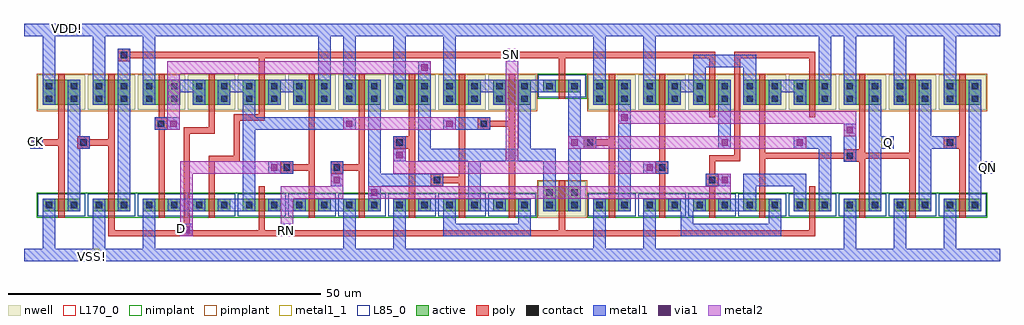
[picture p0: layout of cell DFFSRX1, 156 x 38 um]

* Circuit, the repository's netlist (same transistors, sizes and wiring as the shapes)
* +++++++++++++++++++++++++++++++++++++++++++++++++++++++++ *
* CDL Netlist:                                              *
*                                                           *
* Cell Name  : DFFSRX1                                      *
* Netlisted  : Wed Jan 12 13:57:21 2022                     *
* PVS Version: 16.15-s010 Fri Jun 28 22:24:07 PDT 2019      *
* +++++++++++++++++++++++++++++++++++++++++++++++++++++++++ *
*.LDD
*.DEVTMPLT 0 MN(nmos3) _nmos1v _soi_nd(D) poly_conn(G) _soi_nsb(S) _soi_nsb(B)
*.DEVTMPLT 1 MP(pmos3) _pmos1v _soi_pd(D) poly_conn(G) _soi_psb(S) _soi_psb(B)

* +++++++++++++++++++++++++++++++++++++++++++++++++++++++++ *
* Sub cell: nmos3_CDNS_3                                    *
* +++++++++++++++++++++++++++++++++++++++++++++++++++++++++ *
.subckt nmos3_CDNS_3 2 3 4
** N=4 EP=3 FDC=1
M0 2 3 4 4 nmos3 L=1e-06 W=2e-06 AD=5e-12 AS=0 PD=9e-06 PS=0 fw=2e-06 sa=2e-06 sb=2e-06 $X=7000 $Y=2000 $dt=0
.ends nmos3_CDNS_3

* +++++++++++++++++++++++++++++++++++++++++++++++++++++++++ *
* Sub cell: pmos3_CDNS_4                                    *
* +++++++++++++++++++++++++++++++++++++++++++++++++++++++++ *
.subckt pmos3_CDNS_4 2 3 4
** N=5 EP=3 FDC=1
M0 2 3 4 4 pmos3 L=1e-06 W=4e-06 AD=1e-11 AS=0 PD=1.3e-05 PS=0 fw=4e-06 sa=2e-06 sb=2e-06 $X=7000 $Y=2000 $dt=1
.ends pmos3_CDNS_4

* +++++++++++++++++++++++++++++++++++++++++++++++++++++++++ *
* Sub cell: DFFSRX1                                         *
* +++++++++++++++++++++++++++++++++++++++++++++++++++++++++ *
.subckt DFFSRX1 CK D Q QN RN SN VDD! VSS!
** N=28 EP=8 FDC=38
X32 2 CK VSS! nmos3_CDNS_3 $T=20000 12000 1 180 $X=4000 $Y=12000
X33 3 2 VSS! nmos3_CDNS_3 $T=36000 12000 1 180 $X=20000 $Y=12000
X34 15 4 VSS! nmos3_CDNS_3 $T=52000 12000 1 180 $X=36000 $Y=12000
X35 9 3 15 nmos3_CDNS_3 $T=68000 12000 1 180 $X=52000 $Y=12000
X36 9 2 16 nmos3_CDNS_3 $T=68000 12000 0 0 $X=68000 $Y=12000
X37 16 D VSS! nmos3_CDNS_3 $T=84000 12000 0 0 $X=84000 $Y=12000
X38 8 RN VSS! nmos3_CDNS_3 $T=116000 12000 1 180 $X=100000 $Y=12000
X39 17 SN VSS! nmos3_CDNS_3 $T=132000 12000 1 180 $X=116000 $Y=12000
X40 4 8 17 nmos3_CDNS_3 $T=148000 12000 1 180 $X=132000 $Y=12000
X41 4 9 17 nmos3_CDNS_3 $T=148000 12000 0 0 $X=148000 $Y=12000
X42 10 3 4 nmos3_CDNS_3 $T=180000 50000 1 180 $X=164000 $Y=50000
X43 11 10 VSS! nmos3_CDNS_3 $T=196000 12000 1 180 $X=180000 $Y=12000
X44 18 SN VSS! nmos3_CDNS_3 $T=212000 12000 1 180 $X=196000 $Y=12000
X45 19 8 18 nmos3_CDNS_3 $T=228000 12000 1 180 $X=212000 $Y=12000
X46 19 11 18 nmos3_CDNS_3 $T=228000 12000 0 0 $X=228000 $Y=12000
X47 10 2 19 nmos3_CDNS_3 $T=260000 12000 1 180 $X=244000 $Y=12000
X48 Q 11 VSS! nmos3_CDNS_3 $T=276000 12000 1 180 $X=260000 $Y=12000
X49 12 11 VSS! nmos3_CDNS_3 $T=292000 12000 1 180 $X=276000 $Y=12000
X50 QN 12 VSS! nmos3_CDNS_3 $T=308000 12000 1 180 $X=292000 $Y=12000
X51 2 CK VDD! pmos3_CDNS_4 $T=20000 58000 0 180 $X=4000 $Y=44000
X52 3 2 VDD! pmos3_CDNS_4 $T=36000 58000 0 180 $X=20000 $Y=44000
X53 23 4 VDD! pmos3_CDNS_4 $T=52000 58000 0 180 $X=36000 $Y=44000
X54 9 2 23 pmos3_CDNS_4 $T=68000 58000 0 180 $X=52000 $Y=44000
X55 9 3 24 pmos3_CDNS_4 $T=68000 58000 1 0 $X=68000 $Y=44000
X56 24 D VDD! pmos3_CDNS_4 $T=84000 58000 1 0 $X=84000 $Y=44000
X57 8 RN VDD! pmos3_CDNS_4 $T=116000 58000 0 180 $X=100000 $Y=44000
X58 4 SN VDD! pmos3_CDNS_4 $T=132000 58000 0 180 $X=116000 $Y=44000
X59 25 8 VDD! pmos3_CDNS_4 $T=148000 58000 0 180 $X=132000 $Y=44000
X60 4 9 25 pmos3_CDNS_4 $T=164000 58000 0 180 $X=148000 $Y=44000
X61 10 2 4 pmos3_CDNS_4 $T=180000 24000 0 180 $X=164000 $Y=10000
X62 11 10 VDD! pmos3_CDNS_4 $T=196000 58000 0 180 $X=180000 $Y=44000
X63 26 SN VDD! pmos3_CDNS_4 $T=212000 58000 0 180 $X=196000 $Y=44000
X64 10 3 26 pmos3_CDNS_4 $T=228000 58000 0 180 $X=212000 $Y=44000
X65 26 11 27 pmos3_CDNS_4 $T=228000 58000 1 0 $X=228000 $Y=44000
X66 27 8 VDD! pmos3_CDNS_4 $T=244000 58000 1 0 $X=244000 $Y=44000
X67 Q 11 VDD! pmos3_CDNS_4 $T=276000 58000 0 180 $X=260000 $Y=44000
X68 12 11 VDD! pmos3_CDNS_4 $T=292000 58000 0 180 $X=276000 $Y=44000
X69 QN 12 VDD! pmos3_CDNS_4 $T=308000 58000 0 180 $X=292000 $Y=44000
.ends DFFSRX1

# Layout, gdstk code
from math import pi, radians
import gdstk
lib = gdstk.Library(unit=1e-6, precision=5e-10)
def R(c, l, rs):  # rectangles x0, y0, x1, y1
    for r in rs: c.add(gdstk.rectangle(r[:2], r[2:], *l))
active = (1, 0)
nwell = (2, 0)
poly = (3, 0)
nimplant = (4, 0)
pimplant = (5, 0)
contact = (6, 0)
metal1 = (7, 0)
metal1_1 = (7, 1)
via1 = (8, 0)
metal2 = (9, 0)
L85_0 = (85, 0)
L170_0 = (170, 0)

nmos3_cdns_3 = lib.new_cell('nmos3_CDNS_3')
R(nmos3_cdns_3, active, [(1,1,7,3)])
R(nmos3_cdns_3, poly, [(3.5,0,4.5,5), (3.6,3.5,4.4,3.9)])
R(nmos3_cdns_3, nimplant, [(0,0,8,4)])
R(nmos3_cdns_3, contact, [(1.5,1.5,2.5,2.5), (5.5,1.5,6.5,2.5), (5.5,1.5,6.5,2.5)])
R(nmos3_cdns_3, metal1, [(1,1,3,3), (5,1,7,3), (1.3,1.3,2.7,2.7), (5.3,1.3,6.7,2.7)])
R(nmos3_cdns_3, L85_0, [(0.2,0.2,7.8,3.8)])
R(nmos3_cdns_3, L170_0, [(4.5,1,7,3)])

pmos3_cdns_4 = lib.new_cell('pmos3_CDNS_4')
R(pmos3_cdns_4, active, [(1,1,7,5)])
R(pmos3_cdns_4, nwell, [(0.2,0.2,7.8,5.8)])
R(pmos3_cdns_4, poly, [(3.5,0,4.5,7), (3.6,5.6,4.4,5.9)])
R(pmos3_cdns_4, pimplant, [(0,0,8,6)])
R(pmos3_cdns_4, contact, [(1.5,1.5,2.5,2.5), (5.5,1.5,6.5,2.5), (5.5,1.5,6.5,2.5), (1.5,3.5,2.5,4.5), (5.5,3.5,6.5,4.5)])
R(pmos3_cdns_4, metal1, [(1,1,3,5), (5,1,7,5), (1.3,1.3,2.7,2.7), (5.3,1.3,6.7,2.7)])
R(pmos3_cdns_4, L170_0, [(4.5,1,7,5)])

m1_po_cdns_1 = lib.new_cell('M1_PO_CDNS_1')
R(m1_po_cdns_1, poly, [(-1,-1,1,1)])
R(m1_po_cdns_1, contact, [(-0.5,-0.5,0.5,0.5)])
R(m1_po_cdns_1, metal1, [(-1,-1,1,1)])

m2_m1_cdns_2 = lib.new_cell('M2_M1_CDNS_2')
R(m2_m1_cdns_2, metal1, [(-1,-1,1,1)])
R(m2_m1_cdns_2, via1, [(-0.5,-0.5,0.5,0.5)])
R(m2_m1_cdns_2, metal2, [(-1,-1,1,1)])

dffsrx1 = lib.new_cell('DFFSRX1')
R(dffsrx1, poly, [(132.2,14.9,133.8,16.9), (61,17,61.9,19), (148.7,17,150,19)])
R(dffsrx1, metal1, [(25,3,27,5), (41,3,43,5), (103.1,7.1,108.8,9), (151,13,155,15), (1,17,3,19), (77,31,79,33), (77,31,79,33)])
R(dffsrx1, metal1_1, [(10,-1,12,1), (25,3,27,5), (41,3,43,5), (153,13,155,15), (1,17,3,19), (137,17,139,19), (77,31,79,33), (6,35,8,37)])
dffsrx1.add(gdstk.FlexPath([(34,22),(38.5,22)], 1, ends=(0.5, 0), simple_path=True, layer=3, datatype=0))  # poly
dffsrx1.add(gdstk.FlexPath([(34,15.4),(34,22)], 1, ends="extended", simple_path=True, layer=3, datatype=0))  # poly
dffsrx1.add(gdstk.FlexPath([(30,15.4),(34,15.4)], 1, ends="extended", simple_path=True, layer=3, datatype=0))  # poly
dffsrx1.add(gdstk.FlexPath([(30,9.5),(30,15.4)], 1, ends=(0, 0.5), simple_path=True, layer=3, datatype=0))  # poly
dffsrx1.add(gdstk.FlexPath([(14,3.5),(26,3.5)], 1, ends="extended", simple_path=True, layer=3, datatype=0))  # poly
dffsrx1.add(gdstk.FlexPath([(26,19.9),(26,3.5)], 1, ends="extended", simple_path=True, layer=3, datatype=0))  # poly
dffsrx1.add(gdstk.FlexPath([(30,19.9),(26,19.9)], 1, ends="extended", simple_path=True, layer=3, datatype=0))  # poly
dffsrx1.add(gdstk.FlexPath([(30,23.4),(30,19.9)], 1, ends=(0, 0.5), simple_path=True, layer=3, datatype=0))  # poly
dffsrx1.add(gdstk.FlexPath([(22,9.5),(22,24)], 1, ends="flush", simple_path=True, layer=3, datatype=0))  # poly
dffsrx1.add(gdstk.FlexPath([(150,9.5),(150,23.7)], 1, ends="flush", simple_path=True, layer=3, datatype=0))  # poly
dffsrx1.add(gdstk.FlexPath([(142,15.9),(142,23.8)], 1, ends=(0.5, 0), simple_path=True, layer=3, datatype=0))  # poly
dffsrx1.add(gdstk.FlexPath([(142,9.5),(142,15.9)], 1, ends=(0, 0.5), simple_path=True, layer=3, datatype=0))  # poly
dffsrx1.add(gdstk.FlexPath([(134,9.3),(134,23.8)], 1, ends="flush", simple_path=True, layer=3, datatype=0))  # poly
dffsrx1.add(gdstk.FlexPath([(118,15.9),(142,15.9)], 1, ends="extended", simple_path=True, layer=3, datatype=0))  # poly
dffsrx1.add(gdstk.FlexPath([(118,15.9),(118,23.4)], 1, ends=(0.5, 0), simple_path=True, layer=3, datatype=0))  # poly
dffsrx1.add(gdstk.FlexPath([(126,22.8),(126,32)], 1, ends=(0, 0.5), simple_path=True, layer=3, datatype=0))  # poly
dffsrx1.add(gdstk.FlexPath([(126,32),(114,32)], 1, ends="extended", simple_path=True, layer=3, datatype=0))  # poly
dffsrx1.add(gdstk.FlexPath([(114,32),(114,15.5)], 1, ends="extended", simple_path=True, layer=3, datatype=0))  # poly
dffsrx1.add(gdstk.FlexPath([(114,15.5),(110,15.5)], 1, ends="extended", simple_path=True, layer=3, datatype=0))  # poly
dffsrx1.add(gdstk.FlexPath([(110,15.5),(110,12)], 1, ends=(0.5, 0), simple_path=True, layer=3, datatype=0))  # poly
dffsrx1.add(gdstk.FlexPath([(126,9.9),(126,3.5)], 1, ends=(0, 0.5), simple_path=True, layer=3, datatype=0))  # poly
dffsrx1.add(gdstk.FlexPath([(118,9.5),(118,15.9)], 1, ends=(0, 0.5), simple_path=True, layer=3, datatype=0))  # poly
dffsrx1.add(gdstk.FlexPath([(110.5,32),(110,32)], 1, ends=(0, 0.5), simple_path=True, layer=3, datatype=0))  # poly
dffsrx1.add(gdstk.FlexPath([(110,23),(110,32)], 1, ends=(0, 0.5), simple_path=True, layer=3, datatype=0))  # poly
dffsrx1.add(gdstk.FlexPath([(102,9.5),(102,24.1)], 1, ends="flush", simple_path=True, layer=3, datatype=0))  # poly
dffsrx1.add(gdstk.FlexPath([(94,9.5),(94,18)], 1, ends=(0, 0.5), simple_path=True, layer=3, datatype=0))  # poly
dffsrx1.add(gdstk.FlexPath([(90.5,18),(94,18)], 1, ends=(0, 0.5), simple_path=True, layer=3, datatype=0))  # poly
dffsrx1.add(gdstk.FlexPath([(94,18),(94,23.6)], 1, ends=(0.5, 0), simple_path=True, layer=3, datatype=0))  # poly
dffsrx1.add(gdstk.FlexPath([(110,32),(86,32)], 1, ends="extended", simple_path=True, layer=3, datatype=0))  # poly
dffsrx1.add(gdstk.FlexPath([(86,28.2),(86,32)], 1, ends=(0, 0.5), simple_path=True, layer=3, datatype=0))  # poly
dffsrx1.add(gdstk.FlexPath([(86,6.8),(86,3.5)], 1, ends=(0, 0.5), simple_path=True, layer=3, datatype=0))  # poly
dffsrx1.add(gdstk.FlexPath([(70,24.2),(70,14)], 1, ends=(0, 0.5), simple_path=True, layer=3, datatype=0))  # poly
dffsrx1.add(gdstk.FlexPath([(70,12),(66,12)], 1, ends=(0.5, 0), simple_path=True, layer=3, datatype=0))  # poly
dffsrx1.add(gdstk.FlexPath([(70,9.5),(70,14)], 1, ends=(0, 0.5), simple_path=True, layer=3, datatype=0))  # poly
dffsrx1.add(gdstk.FlexPath([(62,9.5),(62,23.8)], 1, ends="flush", simple_path=True, layer=3, datatype=0))  # poly
dffsrx1.add(gdstk.FlexPath([(54,9.5),(54,14)], 1, ends=(0, 0.5), simple_path=True, layer=3, datatype=0))  # poly
dffsrx1.add(gdstk.FlexPath([(54,14),(50,14)], 1, ends=(0.5, 0), simple_path=True, layer=3, datatype=0))  # poly
dffsrx1.add(gdstk.FlexPath([(54,14),(54,23.6)], 1, ends=(0.5, 0), simple_path=True, layer=3, datatype=0))  # poly
dffsrx1.add(gdstk.FlexPath([(45.8,14),(41.8,14)], 1, ends=(0.5, 0), simple_path=True, layer=3, datatype=0))  # poly
dffsrx1.add(gdstk.FlexPath([(46,18),(46,23.4)], 1, ends=(0.5, 0), simple_path=True, layer=3, datatype=0))  # poly
dffsrx1.add(gdstk.FlexPath([(46,9.4),(46,18)], 1, ends=(0, 0.5), simple_path=True, layer=3, datatype=0))  # poly
dffsrx1.add(gdstk.FlexPath([(86,32),(38,32)], 1, ends="extended", simple_path=True, layer=3, datatype=0))  # poly
dffsrx1.add(gdstk.FlexPath([(38,22.7),(38,32)], 1, ends=(0, 0.5), simple_path=True, layer=3, datatype=0))  # poly
dffsrx1.add(gdstk.FlexPath([(38,10.6),(38,4)], 1, ends=(0, 0.5), simple_path=True, layer=3, datatype=0))  # poly
dffsrx1.add(gdstk.FlexPath([(38,32),(15.3,32)], 1, ends=(0.5, 0), simple_path=True, layer=3, datatype=0))  # poly
dffsrx1.add(gdstk.FlexPath([(126,3.5),(86,3.5)], 1, ends="extended", simple_path=True, layer=3, datatype=0))  # poly
dffsrx1.add(gdstk.FlexPath([(26,3.5),(86,3.5)], 1, ends="extended", simple_path=True, layer=3, datatype=0))  # poly
dffsrx1.add(gdstk.FlexPath([(14,23.9),(14,18)], 1, ends=(0, 0.5), simple_path=True, layer=3, datatype=0))  # poly
dffsrx1.add(gdstk.FlexPath([(14,18),(10.5,18)], 1, ends=(0.5, 0), simple_path=True, layer=3, datatype=0))  # poly
dffsrx1.add(gdstk.FlexPath([(14,18),(14,3.5)], 1, ends="extended", simple_path=True, layer=3, datatype=0))  # poly
dffsrx1.add(gdstk.FlexPath([(6,18),(2,18)], 1, ends=(0.5, 0), simple_path=True, layer=3, datatype=0))  # poly
dffsrx1.add(gdstk.FlexPath([(6,9.5),(6,24.8)], 1, ends="flush", simple_path=True, layer=3, datatype=0))  # poly
dffsrx1.add(gdstk.FlexPath([(78,9.3),(78,21)], 1, ends=(0, 0.5), simple_path=True, layer=3, datatype=0))  # poly
dffsrx1.add(gdstk.FlexPath([(78,21),(73.5,21)], 1, ends=(0.5, 0), simple_path=True, layer=3, datatype=0))  # poly
dffsrx1.add(gdstk.FlexPath([(78,21),(78,23.7)], 1, ends=(0.5, 0), simple_path=True, layer=3, datatype=0))  # poly
dffsrx1.add(gdstk.FlexPath([(52,8),(52,0)], 2, ends="extended", simple_path=True, layer=7, datatype=0))  # metal1
dffsrx1.add(gdstk.FlexPath([(52,0),(60,0)], 2, ends="extended", simple_path=True, layer=7, datatype=0))  # metal1
dffsrx1.add(gdstk.FlexPath([(60,8.7),(60,0)], 2, ends=(0, 1), simple_path=True, layer=7, datatype=0))  # metal1
dffsrx1.add(gdstk.FlexPath([(12,0),(20,0)], 2, ends="extended", simple_path=True, layer=7, datatype=0))  # metal1
dffsrx1.add(gdstk.FlexPath([(20,8.7),(20,0)], 2, ends=(0, 1), simple_path=True, layer=7, datatype=0))  # metal1
dffsrx1.add(gdstk.FlexPath([(12,36),(20,36)], 2, ends="extended", simple_path=True, layer=7, datatype=0))  # metal1
dffsrx1.add(gdstk.FlexPath([(20,26.3),(20,36)], 2, ends=(0, 1), simple_path=True, layer=7, datatype=0))  # metal1
dffsrx1.add(gdstk.FlexPath([(136,7.3),(136,18)], 2, ends=(0, 1), simple_path=True, layer=7, datatype=0))  # metal1
dffsrx1.add(gdstk.FlexPath([(139,18),(136,18)], 2, ends=(0, 1), simple_path=True, layer=7, datatype=0))  # metal1
dffsrx1.add(gdstk.FlexPath([(12,0),(12,-1)], 2, ends=(1, 0), simple_path=True, layer=7, datatype=0))  # metal1
dffsrx1.add(gdstk.FlexPath([(148,0),(156,0)], 2, ends=(1, 0), simple_path=True, layer=7, datatype=0))  # metal1
dffsrx1.add(gdstk.FlexPath([(140,0),(148,0)], 2, ends="extended", simple_path=True, layer=7, datatype=0))  # metal1
dffsrx1.add(gdstk.FlexPath([(132,0),(140,0)], 2, ends="extended", simple_path=True, layer=7, datatype=0))  # metal1
dffsrx1.add(gdstk.FlexPath([(100,0),(132,0)], 2, ends="extended", simple_path=True, layer=7, datatype=0))  # metal1
dffsrx1.add(gdstk.FlexPath([(36,27),(36,27.9)], 2, ends=(1, 0), simple_path=True, layer=7, datatype=0))  # metal1
dffsrx1.add(gdstk.FlexPath([(28.7,27),(23.3,27)], 2, ends="flush", simple_path=True, layer=7, datatype=0))  # metal1
dffsrx1.add(gdstk.FlexPath([(28.7,8),(23.3,8)], 2, ends="flush", simple_path=True, layer=7, datatype=0))  # metal1
dffsrx1.add(gdstk.FlexPath([(144,18),(148.5,18)], 2, ends=(1, 0), simple_path=True, layer=7, datatype=0))  # metal1
dffsrx1.add(gdstk.FlexPath([(144,18),(144,27.7)], 2, ends=(1, 0), simple_path=True, layer=7, datatype=0))  # metal1
dffsrx1.add(gdstk.FlexPath([(152,27.7),(152,7.2)], 2, ends="flush", simple_path=True, layer=7, datatype=0))  # metal1
dffsrx1.add(gdstk.FlexPath([(20,36),(48,36)], 2, ends="extended", simple_path=True, layer=7, datatype=0))  # metal1
dffsrx1.add(gdstk.FlexPath([(148,26.3),(148,36)], 2, ends=(0, 1), simple_path=True, layer=7, datatype=0))  # metal1
dffsrx1.add(gdstk.FlexPath([(4,36),(12,36)], 2, ends="extended", simple_path=True, layer=7, datatype=0))  # metal1
dffsrx1.add(gdstk.FlexPath([(148,8.6),(148,0)], 2, ends=(0, 1), simple_path=True, layer=7, datatype=0))  # metal1
dffsrx1.add(gdstk.FlexPath([(144,7.3),(144,18)], 2, ends=(0, 1), simple_path=True, layer=7, datatype=0))  # metal1
dffsrx1.add(gdstk.FlexPath([(48,36),(52,36)], 2, ends="extended", simple_path=True, layer=7, datatype=0))  # metal1
dffsrx1.add(gdstk.FlexPath([(140,26.3),(140,36)], 2, ends=(0, 1), simple_path=True, layer=7, datatype=0))  # metal1
dffsrx1.add(gdstk.FlexPath([(52,36),(60,36)], 2, ends="extended", simple_path=True, layer=7, datatype=0))  # metal1
dffsrx1.add(gdstk.FlexPath([(132,15.9),(132,20)], 2, ends="flush", simple_path=True, layer=7, datatype=0))  # metal1
dffsrx1.add(gdstk.FlexPath([(136,18),(136,27.7)], 2, ends=(1, 0), simple_path=True, layer=7, datatype=0))  # metal1
dffsrx1.add(gdstk.FlexPath([(60,36),(68,36)], 2, ends="extended", simple_path=True, layer=7, datatype=0))  # metal1
dffsrx1.add(gdstk.FlexPath([(132,8.7),(132,0)], 2, ends=(0, 1), simple_path=True, layer=7, datatype=0))  # metal1
dffsrx1.add(gdstk.FlexPath([(68,36),(92,36)], 2, ends="extended", simple_path=True, layer=7, datatype=0))  # metal1
dffsrx1.add(gdstk.FlexPath([(132,26.3),(132,36)], 2, ends=(0, 1), simple_path=True, layer=7, datatype=0))  # metal1
dffsrx1.add(gdstk.FlexPath([(140,8.7),(140,0)], 2, ends=(0, 1), simple_path=True, layer=7, datatype=0))  # metal1
dffsrx1.add(gdstk.FlexPath([(128,18),(124,18)], 2, ends=(1, 0), simple_path=True, layer=7, datatype=0))  # metal1
dffsrx1.add(gdstk.FlexPath([(128,7.3),(128,18)], 2, ends=(0, 1), simple_path=True, layer=7, datatype=0))  # metal1
dffsrx1.add(gdstk.FlexPath([(116,8),(116,7.3)], 2, ends=(1, 0), simple_path=True, layer=7, datatype=0))  # metal1
dffsrx1.add(gdstk.FlexPath([(116,8),(111.3,8)], 2, ends=(1, 0), simple_path=True, layer=7, datatype=0))  # metal1
dffsrx1.add(gdstk.FlexPath([(112,27.7),(112,18)], 2, ends="flush", simple_path=True, layer=7, datatype=0))  # metal1
dffsrx1.add(gdstk.FlexPath([(124,12),(116,12)], 2, ends="extended", simple_path=True, layer=7, datatype=0))  # metal1
dffsrx1.add(gdstk.FlexPath([(116.7,8),(116,8)], 2, ends=(0, 1), simple_path=True, layer=7, datatype=0))  # metal1
dffsrx1.add(gdstk.FlexPath([(120,4),(106,4)], 2, ends="extended", simple_path=True, layer=7, datatype=0))  # metal1
dffsrx1.add(gdstk.FlexPath([(124,7.3),(124,12)], 2, ends=(0, 1), simple_path=True, layer=7, datatype=0))  # metal1
dffsrx1.add(gdstk.FlexPath([(120,8.7),(120,4)], 2, ends=(0, 1), simple_path=True, layer=7, datatype=0))  # metal1
dffsrx1.add(gdstk.FlexPath([(108,31),(108,27.7)], 2, ends=(1, 0), simple_path=True, layer=7, datatype=0))  # metal1
dffsrx1.add(gdstk.FlexPath([(116,31),(108,31)], 2, ends="extended", simple_path=True, layer=7, datatype=0))  # metal1
dffsrx1.add(gdstk.FlexPath([(116,26.3),(116,31)], 2, ends=(0, 1), simple_path=True, layer=7, datatype=0))  # metal1
dffsrx1.add(gdstk.FlexPath([(92,36),(100,36)], 2, ends="extended", simple_path=True, layer=7, datatype=0))  # metal1
dffsrx1.add(gdstk.FlexPath([(128,26.3),(128,36)], 2, ends=(0, 1), simple_path=True, layer=7, datatype=0))  # metal1
dffsrx1.add(gdstk.FlexPath([(119.3,27),(124.7,27)], 2, ends="flush", simple_path=True, layer=7, datatype=0))  # metal1
dffsrx1.add(gdstk.FlexPath([(103.3,27),(108.7,27)], 2, ends="flush", simple_path=True, layer=7, datatype=0))  # metal1
dffsrx1.add(gdstk.FlexPath([(116,12),(116,8)], 2, ends="extended", simple_path=True, layer=7, datatype=0))  # metal1
dffsrx1.add(gdstk.FlexPath([(100,36),(128,36)], 2, ends="extended", simple_path=True, layer=7, datatype=0))  # metal1
dffsrx1.add(gdstk.FlexPath([(100,26.3),(100,36)], 2, ends=(0, 1), simple_path=True, layer=7, datatype=0))  # metal1
dffsrx1.add(gdstk.FlexPath([(128,36),(132,36)], 2, ends="extended", simple_path=True, layer=7, datatype=0))  # metal1
dffsrx1.add(gdstk.FlexPath([(100,8.7),(100,0)], 2, ends=(0, 1), simple_path=True, layer=7, datatype=0))  # metal1
dffsrx1.add(gdstk.FlexPath([(106,4),(106,9)], 2, ends=(1, 0), simple_path=True, layer=7, datatype=0))  # metal1
dffsrx1.add(gdstk.FlexPath([(88,18),(90.5,18)], 2, ends=(1, 0), simple_path=True, layer=7, datatype=0))  # metal1
dffsrx1.add(gdstk.FlexPath([(88,18),(88,27.7)], 2, ends=(1, 0), simple_path=True, layer=7, datatype=0))  # metal1
dffsrx1.add(gdstk.FlexPath([(96,7.3),(96,27.7)], 2, ends="flush", simple_path=True, layer=7, datatype=0))  # metal1
dffsrx1.add(gdstk.FlexPath([(132,36),(140,36)], 2, ends="extended", simple_path=True, layer=7, datatype=0))  # metal1
dffsrx1.add(gdstk.FlexPath([(92,26.3),(92,36)], 2, ends=(0, 1), simple_path=True, layer=7, datatype=0))  # metal1
dffsrx1.add(gdstk.FlexPath([(140,36),(148,36)], 2, ends="extended", simple_path=True, layer=7, datatype=0))  # metal1
dffsrx1.add(gdstk.FlexPath([(92,8.7),(92,0)], 2, ends=(0, 1), simple_path=True, layer=7, datatype=0))  # metal1
dffsrx1.add(gdstk.FlexPath([(88,9.3),(88,18)], 2, ends=(0, 1), simple_path=True, layer=7, datatype=0))  # metal1
dffsrx1.add(gdstk.FlexPath([(84,16),(80,16)], 2, ends="extended", simple_path=True, layer=7, datatype=0))  # metal1
dffsrx1.add(gdstk.FlexPath([(84,9.3),(84,16)], 2, ends=(0, 1), simple_path=True, layer=7, datatype=0))  # metal1
dffsrx1.add(gdstk.FlexPath([(80,27),(80,27.7)], 2, ends=(1, 0), simple_path=True, layer=7, datatype=0))  # metal1
dffsrx1.add(gdstk.FlexPath([(80,27),(79.3,27)], 2, ends=(1, 0), simple_path=True, layer=7, datatype=0))  # metal1
dffsrx1.add(gdstk.FlexPath([(84.7,27),(80,27)], 2, ends=(0, 1), simple_path=True, layer=7, datatype=0))  # metal1
dffsrx1.add(gdstk.FlexPath([(36,7.3),(36,8)], 2, ends=(0, 1), simple_path=True, layer=7, datatype=0))  # metal1
dffsrx1.add(gdstk.FlexPath([(52,21),(36,21)], 2, ends=(0, 1), simple_path=True, layer=7, datatype=0))  # metal1
dffsrx1.add(gdstk.FlexPath([(73.5,21),(67,21)], 2, ends="flush", simple_path=True, layer=7, datatype=0))  # metal1
dffsrx1.add(gdstk.FlexPath([(80,16),(80,27)], 2, ends="extended", simple_path=True, layer=7, datatype=0))  # metal1
dffsrx1.add(gdstk.FlexPath([(148,36),(156,36)], 2, ends=(1, 0), simple_path=True, layer=7, datatype=0))  # metal1
dffsrx1.add(gdstk.FlexPath([(68,26.3),(68,36)], 2, ends=(0, 1), simple_path=True, layer=7, datatype=0))  # metal1
dffsrx1.add(gdstk.FlexPath([(71.3,27),(76.7,27)], 2, ends="flush", simple_path=True, layer=7, datatype=0))  # metal1
dffsrx1.add(gdstk.FlexPath([(68,8),(68.7,8)], 2, ends=(1, 0), simple_path=True, layer=7, datatype=0))  # metal1
dffsrx1.add(gdstk.FlexPath([(80,4),(80,8.7)], 2, ends=(1, 0), simple_path=True, layer=7, datatype=0))  # metal1
dffsrx1.add(gdstk.FlexPath([(68,4),(80,4)], 2, ends="extended", simple_path=True, layer=7, datatype=0))  # metal1
dffsrx1.add(gdstk.FlexPath([(68,8),(68,4)], 2, ends="extended", simple_path=True, layer=7, datatype=0))  # metal1
dffsrx1.add(gdstk.FlexPath([(76.7,8),(72.7,8)], 2, ends="flush", simple_path=True, layer=7, datatype=0))  # metal1
dffsrx1.add(gdstk.FlexPath([(64,16),(64,30.8)], 2, ends=(1, 0), simple_path=True, layer=7, datatype=0))  # metal1
dffsrx1.add(gdstk.FlexPath([(80,16),(64,16)], 2, ends="extended", simple_path=True, layer=7, datatype=0))  # metal1
dffsrx1.add(gdstk.FlexPath([(72,7.3),(72,16)], 2, ends=(0, 1), simple_path=True, layer=7, datatype=0))  # metal1
dffsrx1.add(gdstk.FlexPath([(56,12),(66,12)], 2, ends=(1, 0), simple_path=True, layer=7, datatype=0))  # metal1
dffsrx1.add(gdstk.FlexPath([(56,14),(56,7.3)], 2, ends=(1, 0), simple_path=True, layer=7, datatype=0))  # metal1
dffsrx1.add(gdstk.FlexPath([(4,0),(12,0)], 2, ends="extended", simple_path=True, layer=7, datatype=0))  # metal1
dffsrx1.add(gdstk.FlexPath([(60,26.3),(60,36)], 2, ends=(0, 1), simple_path=True, layer=7, datatype=0))  # metal1
dffsrx1.add(gdstk.FlexPath([(63.3,8),(68,8)], 2, ends=(0, 1), simple_path=True, layer=7, datatype=0))  # metal1
dffsrx1.add(gdstk.FlexPath([(56,27.7),(56,14)], 2, ends=(0, 1), simple_path=True, layer=7, datatype=0))  # metal1
dffsrx1.add(gdstk.FlexPath([(47.3,8),(52,8)], 2, ends=(0, 1), simple_path=True, layer=7, datatype=0))  # metal1
dffsrx1.add(gdstk.FlexPath([(52,26.3),(52,36)], 2, ends=(0, 1), simple_path=True, layer=7, datatype=0))  # metal1
dffsrx1.add(gdstk.FlexPath([(20,0),(52,0)], 2, ends="extended", simple_path=True, layer=7, datatype=0))  # metal1
dffsrx1.add(gdstk.FlexPath([(52,8.7),(52,8)], 2, ends=(0, 1), simple_path=True, layer=7, datatype=0))  # metal1
dffsrx1.add(gdstk.FlexPath([(60,0),(92,0)], 2, ends="extended", simple_path=True, layer=7, datatype=0))  # metal1
dffsrx1.add(gdstk.FlexPath([(52,8),(52.7,8)], 2, ends=(1, 0), simple_path=True, layer=7, datatype=0))  # metal1
dffsrx1.add(gdstk.FlexPath([(39.3,8),(44.7,8)], 2, ends="flush", simple_path=True, layer=7, datatype=0))  # metal1
dffsrx1.add(gdstk.FlexPath([(36,21),(36,27)], 2, ends="extended", simple_path=True, layer=7, datatype=0))  # metal1
dffsrx1.add(gdstk.FlexPath([(92,0),(100,0)], 2, ends="extended", simple_path=True, layer=7, datatype=0))  # metal1
dffsrx1.add(gdstk.FlexPath([(48,26.3),(48,36)], 2, ends=(0, 1), simple_path=True, layer=7, datatype=0))  # metal1
dffsrx1.add(gdstk.FlexPath([(39.3,27),(44.7,27)], 2, ends="flush", simple_path=True, layer=7, datatype=0))  # metal1
dffsrx1.add(gdstk.FlexPath([(16,7.3),(16,33)], 2, ends="flush", simple_path=True, layer=7, datatype=0))  # metal1
dffsrx1.add(gdstk.FlexPath([(0,0),(4,0)], 2, ends=(0, 1), simple_path=True, layer=7, datatype=0))  # metal1
dffsrx1.add(gdstk.FlexPath([(12,8.7),(12,0)], 2, ends=(0, 1), simple_path=True, layer=7, datatype=0))  # metal1
dffsrx1.add(gdstk.FlexPath([(36,8),(36,21)], 2, ends="extended", simple_path=True, layer=7, datatype=0))  # metal1
dffsrx1.add(gdstk.FlexPath([(12,27.3),(12,36)], 2, ends=(0, 1), simple_path=True, layer=7, datatype=0))  # metal1
dffsrx1.add(gdstk.FlexPath([(8,18),(10.5,18)], 2, ends=(1, 0), simple_path=True, layer=7, datatype=0))  # metal1
dffsrx1.add(gdstk.FlexPath([(31.3,8),(36,8)], 2, ends=(0, 1), simple_path=True, layer=7, datatype=0))  # metal1
dffsrx1.add(gdstk.FlexPath([(8,27.3),(8,7)], 2, ends="flush", simple_path=True, layer=7, datatype=0))  # metal1
dffsrx1.add(gdstk.FlexPath([(31.3,27),(36,27)], 2, ends=(0, 1), simple_path=True, layer=7, datatype=0))  # metal1
dffsrx1.add(gdstk.FlexPath([(4,27.3),(4,36)], 2, ends=(0, 1), simple_path=True, layer=7, datatype=0))  # metal1
dffsrx1.add(gdstk.FlexPath([(36,27),(36.7,27)], 2, ends=(1, 0), simple_path=True, layer=7, datatype=0))  # metal1
dffsrx1.add(gdstk.FlexPath([(4,8.7),(4,0)], 2, ends=(0, 1), simple_path=True, layer=7, datatype=0))  # metal1
dffsrx1.add(gdstk.FlexPath([(0,36),(4,36)], 2, ends=(0, 1), simple_path=True, layer=7, datatype=0))  # metal1
dffsrx1.add(gdstk.FlexPath([(36,8),(36.7,8)], 2, ends=(1, 0), simple_path=True, layer=7, datatype=0))  # metal1
dffsrx1.add(gdstk.FlexPath([(50,10),(42,10)], 2, ends="extended", simple_path=True, layer=9, datatype=0))  # metal2
dffsrx1.add(gdstk.FlexPath([(26,14),(26,3.5)], 2, ends=(1, 0), simple_path=True, layer=9, datatype=0))  # metal2
dffsrx1.add(gdstk.FlexPath([(42,10),(42,3.5)], 2, ends=(1, 0), simple_path=True, layer=9, datatype=0))  # metal2
dffsrx1.add(gdstk.FlexPath([(96,22),(133,22)], 2, ends="flush", simple_path=True, layer=9, datatype=0))  # metal2
dffsrx1.add(gdstk.FlexPath([(78,14),(78,32)], 2, ends=(1, 0), simple_path=True, layer=9, datatype=0))  # metal2
dffsrx1.add(gdstk.FlexPath([(56,10),(113,10)], 2, ends="flush", simple_path=True, layer=9, datatype=0))  # metal2
dffsrx1.add(gdstk.FlexPath([(78,14),(101,14)], 2, ends=(1, 0), simple_path=True, layer=9, datatype=0))  # metal2
dffsrx1.add(gdstk.FlexPath([(88,18),(125,18)], 2, ends="flush", simple_path=True, layer=9, datatype=0))  # metal2
dffsrx1.add(gdstk.FlexPath([(60,14),(78,14)], 2, ends="extended", simple_path=True, layer=9, datatype=0))  # metal2
dffsrx1.add(gdstk.FlexPath([(60,16),(60,14)], 2, ends=(0, 1), simple_path=True, layer=9, datatype=0))  # metal2
dffsrx1.add(gdstk.FlexPath([(68,21),(51.2,21)], 2, ends="flush", simple_path=True, layer=9, datatype=0))  # metal2
dffsrx1.add(gdstk.FlexPath([(50,11.9),(50,10)], 2, ends=(0, 1), simple_path=True, layer=9, datatype=0))  # metal2
dffsrx1.add(gdstk.FlexPath([(40,14),(26,14)], 2, ends=(0, 1), simple_path=True, layer=9, datatype=0))  # metal2
dffsrx1.add(gdstk.FlexPath([(64,30),(23.9,30)], 2, ends=(0, 1), simple_path=True, layer=9, datatype=0))  # metal2
dffsrx1.add(gdstk.FlexPath([(23.9,30),(23.9,21)], 2, ends=(1, 0), simple_path=True, layer=9, datatype=0))  # metal2
dffsrx1.add(gdstk.Reference(nmos3_cdns_3, (42,6)))
dffsrx1.add(gdstk.Reference(nmos3_cdns_3, (34,6)))
dffsrx1.add(gdstk.Reference(nmos3_cdns_3, (138,6), rotation=pi, x_reflection=True))
dffsrx1.add(gdstk.Reference(nmos3_cdns_3, (58,6), rotation=pi, x_reflection=True))
dffsrx1.add(gdstk.Reference(nmos3_cdns_3, (10,6), rotation=pi, x_reflection=True))
dffsrx1.add(gdstk.Reference(nmos3_cdns_3, (34,6), rotation=pi, x_reflection=True))
dffsrx1.add(gdstk.Reference(nmos3_cdns_3, (26,6), rotation=pi, x_reflection=True))
dffsrx1.add(gdstk.Reference(nmos3_cdns_3, (154,6), rotation=pi, x_reflection=True))
dffsrx1.add(gdstk.Reference(nmos3_cdns_3, (18,6), rotation=pi, x_reflection=True))
dffsrx1.add(gdstk.Reference(nmos3_cdns_3, (130,6), rotation=pi, x_reflection=True))
dffsrx1.add(gdstk.Reference(nmos3_cdns_3, (98,6), rotation=pi, x_reflection=True))
dffsrx1.add(gdstk.Reference(nmos3_cdns_3, (90,25), rotation=pi, x_reflection=True))
dffsrx1.add(gdstk.Reference(nmos3_cdns_3, (74,6)))
dffsrx1.add(gdstk.Reference(nmos3_cdns_3, (74,6), rotation=pi, x_reflection=True))
dffsrx1.add(gdstk.Reference(nmos3_cdns_3, (66,6), rotation=pi, x_reflection=True))
dffsrx1.add(gdstk.Reference(nmos3_cdns_3, (114,6), rotation=pi, x_reflection=True))
dffsrx1.add(gdstk.Reference(nmos3_cdns_3, (114,6)))
dffsrx1.add(gdstk.Reference(nmos3_cdns_3, (106,6), rotation=pi, x_reflection=True))
dffsrx1.add(gdstk.Reference(nmos3_cdns_3, (146,6), rotation=pi, x_reflection=True))
dffsrx1.add(gdstk.Reference(pmos3_cdns_4, (34,29), x_reflection=True))
dffsrx1.add(gdstk.Reference(pmos3_cdns_4, (42,29), x_reflection=True))
dffsrx1.add(gdstk.Reference(pmos3_cdns_4, (34,29), rotation=pi))
dffsrx1.add(gdstk.Reference(pmos3_cdns_4, (26,29), rotation=pi))
dffsrx1.add(gdstk.Reference(pmos3_cdns_4, (82,29), rotation=pi))
dffsrx1.add(gdstk.Reference(pmos3_cdns_4, (74,29), rotation=pi))
dffsrx1.add(gdstk.Reference(pmos3_cdns_4, (122,29), x_reflection=True))
dffsrx1.add(gdstk.Reference(pmos3_cdns_4, (114,29), x_reflection=True))
dffsrx1.add(gdstk.Reference(pmos3_cdns_4, (138,29), rotation=pi))
dffsrx1.add(gdstk.Reference(pmos3_cdns_4, (58,29), rotation=pi))
dffsrx1.add(gdstk.Reference(pmos3_cdns_4, (10,29), rotation=pi))
dffsrx1.add(gdstk.Reference(pmos3_cdns_4, (154,29), rotation=pi))
dffsrx1.add(gdstk.Reference(pmos3_cdns_4, (18,29), rotation=pi))
dffsrx1.add(gdstk.Reference(pmos3_cdns_4, (114,29), rotation=pi))
dffsrx1.add(gdstk.Reference(pmos3_cdns_4, (106,29), rotation=pi))
dffsrx1.add(gdstk.Reference(pmos3_cdns_4, (98,29), rotation=pi))
dffsrx1.add(gdstk.Reference(pmos3_cdns_4, (66,29), rotation=pi))
dffsrx1.add(gdstk.Reference(pmos3_cdns_4, (90,12), rotation=pi))
dffsrx1.add(gdstk.Reference(pmos3_cdns_4, (146,29), rotation=pi))
dffsrx1.add(gdstk.Reference(m1_po_cdns_1, (21.9,21)))
dffsrx1.add(gdstk.Reference(m1_po_cdns_1, (148,18)))
dffsrx1.add(gdstk.Reference(m1_po_cdns_1, (132,15.9)))
dffsrx1.add(gdstk.Reference(m1_po_cdns_1, (110,12)))
dffsrx1.add(gdstk.Reference(m1_po_cdns_1, (102,14)))
dffsrx1.add(gdstk.Reference(m1_po_cdns_1, (90.5,18)))
dffsrx1.add(gdstk.Reference(m1_po_cdns_1, (73.5,21)))
dffsrx1.add(gdstk.Reference(m1_po_cdns_1, (66,12)))
dffsrx1.add(gdstk.Reference(m1_po_cdns_1, (60,18)))
dffsrx1.add(gdstk.Reference(m1_po_cdns_1, (50,14)))
dffsrx1.add(gdstk.Reference(m1_po_cdns_1, (42,14)))
dffsrx1.add(gdstk.Reference(m1_po_cdns_1, (16,32)))
dffsrx1.add(gdstk.Reference(m1_po_cdns_1, (9.5,18)))
dffsrx1.add(gdstk.Reference(m1_po_cdns_1, (2,18)))
dffsrx1.add(gdstk.Reference(m2_m1_cdns_2, (42,4)))
dffsrx1.add(gdstk.Reference(m2_m1_cdns_2, (26,4)))
dffsrx1.add(gdstk.Reference(m2_m1_cdns_2, (50,12)))
dffsrx1.add(gdstk.Reference(m2_m1_cdns_2, (40,14)))
dffsrx1.add(gdstk.Reference(m2_m1_cdns_2, (78,32)))
dffsrx1.add(gdstk.Reference(m2_m1_cdns_2, (64,30)))
dffsrx1.add(gdstk.Reference(m2_m1_cdns_2, (23.9,21)))
dffsrx1.add(gdstk.Reference(m2_m1_cdns_2, (132,20)))
dffsrx1.add(gdstk.Reference(m2_m1_cdns_2, (96,22)))
dffsrx1.add(gdstk.Reference(m2_m1_cdns_2, (112,12)))
dffsrx1.add(gdstk.Reference(m2_m1_cdns_2, (56,10)))
dffsrx1.add(gdstk.Reference(m2_m1_cdns_2, (124,18)))
dffsrx1.add(gdstk.Reference(m2_m1_cdns_2, (112,18)))
dffsrx1.add(gdstk.Reference(m2_m1_cdns_2, (88,18)))
dffsrx1.add(gdstk.Reference(m2_m1_cdns_2, (100,14)))
dffsrx1.add(gdstk.Reference(m2_m1_cdns_2, (60,16)))
dffsrx1.add(gdstk.Reference(m2_m1_cdns_2, (52,21)))
dffsrx1.add(gdstk.Reference(m2_m1_cdns_2, (68,21)))
dffsrx1.add(gdstk.Label('RN', (42,4), layer=7, texttype=0))
dffsrx1.add(gdstk.Label('RN', (42,4), layer=7, texttype=0))
dffsrx1.add(gdstk.Label('QN', (154,14), layer=7, texttype=0))
dffsrx1.add(gdstk.Label('RN', (42,3.5), layer=7, texttype=3))
dffsrx1.add(gdstk.Label('D', (25.2,4.3), layer=7, texttype=3))
dffsrx1.add(gdstk.Label('D', (26,4), layer=7, texttype=3))
dffsrx1.add(gdstk.Label('QN', (153.9,13.9), layer=7, texttype=3))
dffsrx1.add(gdstk.Label('Q', (138.2,18), layer=7, texttype=3))
dffsrx1.add(gdstk.Label('SN', (77.9,32.1), layer=7, texttype=3))
dffsrx1.add(gdstk.Label('D', (26,4), layer=7, texttype=3))
dffsrx1.add(gdstk.Label('VSS!', (11,-0.2), layer=7, texttype=3))
dffsrx1.add(gdstk.Label('VDD!', (7,36.2), layer=7, texttype=3))
dffsrx1.add(gdstk.Label('CK', (1.8,18.2), layer=7, texttype=3))
dffsrx1.add(gdstk.Label('QN', (154,14), layer=7, texttype=3))
dffsrx1.add(gdstk.Label('QN', (154,14), layer=7, texttype=3))
dffsrx1.add(gdstk.Label('D', (26,4), layer=9, texttype=3))
dffsrx1.add(gdstk.Label('D', (26,4), layer=9, texttype=3))

lib.write_gds('DFFSRX1.gds')
